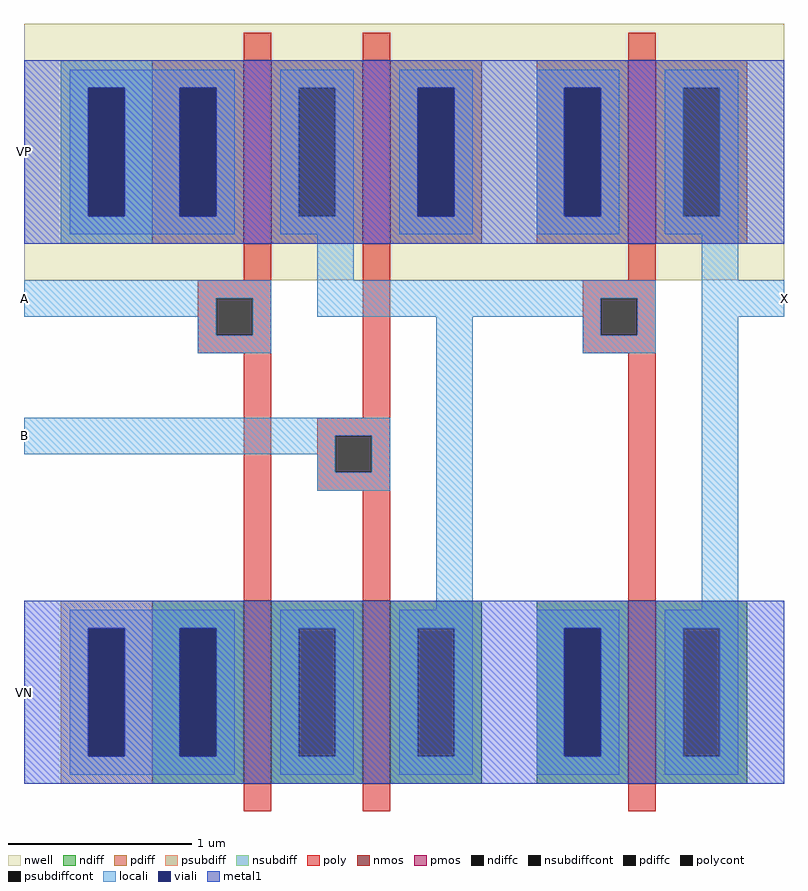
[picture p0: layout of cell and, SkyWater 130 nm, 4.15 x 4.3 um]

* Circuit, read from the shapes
.subckt and A B X VP VN
XM1 n1 A VN VN sky130_fd_pr__nfet_01v8 w=1 l=0.15
XM2 n2 B n1 VN sky130_fd_pr__nfet_01v8 w=1 l=0.15
XM3 X n2 VN VN sky130_fd_pr__nfet_01v8 w=1 l=0.15
XM4 n2 A VP VP sky130_fd_pr__pfet_01v8 w=1 l=0.15
XM5 VP B n2 VP sky130_fd_pr__pfet_01v8 w=1 l=0.15
XM6 X n2 VP VP sky130_fd_pr__pfet_01v8 w=1 l=0.15
.ends

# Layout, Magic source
magic
tech sky130A
<< nwell >>
rect -120 -25 295 115
<< nmos >>
rect 0 -300 15 -200
rect 65 -300 80 -200
rect 210 -300 225 -200
<< pmos >>
rect 0 -5 15 95
rect 65 -5 80 95
rect 210 -5 225 95
<< ndiff >>
rect -50 -215 0 -200
rect -50 -285 -35 -215
rect -15 -285 0 -215
rect -50 -300 0 -285
rect 15 -215 65 -200
rect 15 -285 30 -215
rect 50 -285 65 -215
rect 15 -300 65 -285
rect 80 -215 130 -200
rect 80 -285 95 -215
rect 115 -285 130 -215
rect 80 -300 130 -285
rect 160 -215 210 -200
rect 160 -285 175 -215
rect 195 -285 210 -215
rect 160 -300 210 -285
rect 225 -215 275 -200
rect 225 -285 240 -215
rect 260 -285 275 -215
rect 225 -300 275 -285
<< pdiff >>
rect -50 80 0 95
rect -50 10 -35 80
rect -15 10 0 80
rect -50 -5 0 10
rect 15 80 65 95
rect 15 10 30 80
rect 50 10 65 80
rect 15 -5 65 10
rect 80 80 130 95
rect 80 10 95 80
rect 115 10 130 80
rect 80 -5 130 10
rect 160 80 210 95
rect 160 10 175 80
rect 195 10 210 80
rect 160 -5 210 10
rect 225 80 275 95
rect 225 10 240 80
rect 260 10 275 80
rect 225 -5 275 10
<< ndiffc >>
rect -35 -285 -15 -215
rect 30 -285 50 -215
rect 95 -285 115 -215
rect 175 -285 195 -215
rect 240 -285 260 -215
<< pdiffc >>
rect -35 10 -15 80
rect 30 10 50 80
rect 95 10 115 80
rect 175 10 195 80
rect 240 10 260 80
<< psubdiff >>
rect -100 -215 -50 -200
rect -100 -285 -85 -215
rect -65 -285 -50 -215
rect -100 -300 -50 -285
<< nsubdiff >>
rect -100 80 -50 95
rect -100 10 -85 80
rect -65 10 -50 80
rect -100 -5 -50 10
<< psubdiffcont >>
rect -85 -285 -65 -215
<< nsubdiffcont >>
rect -85 10 -65 80
<< poly >>
rect 0 95 15 110
rect 65 95 80 110
rect 210 95 225 110
rect 0 -25 15 -5
rect -25 -35 15 -25
rect -25 -55 -15 -35
rect 5 -55 15 -35
rect -25 -65 15 -55
rect 0 -200 15 -65
rect 65 -100 80 -5
rect 210 -25 225 -5
rect 185 -35 225 -25
rect 185 -55 195 -35
rect 215 -55 225 -35
rect 185 -65 225 -55
rect 40 -110 80 -100
rect 40 -130 50 -110
rect 70 -130 80 -110
rect 40 -140 80 -130
rect 65 -200 80 -140
rect 210 -200 225 -65
rect 0 -315 15 -300
rect 65 -315 80 -300
rect 210 -315 225 -300
<< polycont >>
rect -15 -55 5 -35
rect 195 -55 215 -35
rect 50 -130 70 -110
<< locali >>
rect -95 80 -5 90
rect -95 10 -85 80
rect -65 10 -35 80
rect -15 10 -5 80
rect -95 0 -5 10
rect 20 80 60 90
rect 20 10 30 80
rect 50 10 60 80
rect 20 0 60 10
rect 85 80 125 90
rect 85 10 95 80
rect 115 10 125 80
rect 85 0 125 10
rect 160 80 205 90
rect 160 10 175 80
rect 195 10 205 80
rect 160 0 205 10
rect 230 80 270 90
rect 230 10 240 80
rect 260 10 270 80
rect 230 0 270 10
rect 40 -25 60 0
rect 250 -25 270 0
rect -120 -35 15 -25
rect -120 -45 -15 -35
rect -25 -55 -15 -45
rect 5 -55 15 -35
rect 40 -35 225 -25
rect 40 -45 195 -35
rect -25 -65 15 -55
rect -120 -110 80 -100
rect -120 -120 50 -110
rect 40 -130 50 -120
rect 70 -130 80 -110
rect 40 -140 80 -130
rect 105 -205 125 -45
rect 185 -55 195 -45
rect 215 -55 225 -35
rect 185 -65 225 -55
rect 250 -45 295 -25
rect 250 -205 270 -45
rect -95 -215 -5 -205
rect -95 -285 -85 -215
rect -65 -285 -35 -215
rect -15 -285 -5 -215
rect -95 -295 -5 -285
rect 20 -215 60 -205
rect 20 -285 30 -215
rect 50 -285 60 -215
rect 20 -295 60 -285
rect 85 -215 125 -205
rect 85 -285 95 -215
rect 115 -285 125 -215
rect 85 -295 125 -285
rect 160 -215 205 -205
rect 160 -285 175 -215
rect 195 -285 205 -215
rect 160 -295 205 -285
rect 230 -215 270 -205
rect 230 -285 240 -215
rect 260 -285 270 -215
rect 230 -295 270 -285
<< viali >>
rect -85 10 -65 80
rect -35 10 -15 80
rect 95 10 115 80
rect 175 10 195 80
rect -85 -285 -65 -215
rect -35 -285 -15 -215
rect 175 -285 195 -215
<< metal1 >>
rect -120 80 295 95
rect -120 10 -85 80
rect -65 10 -35 80
rect -15 10 95 80
rect 115 10 175 80
rect 195 10 295 80
rect -120 -5 295 10
rect -120 -215 295 -200
rect -120 -285 -85 -215
rect -65 -285 -35 -215
rect -15 -285 175 -215
rect 195 -285 295 -215
rect -120 -300 295 -285
<< labels >>
rlabel locali -120 -35 -120 -35 7 A
port 1 w
rlabel locali -120 -110 -120 -110 7 B
port 2 w
rlabel metal1 -120 -250 -120 -250 7 VN
port 5 w
rlabel metal1 -120 45 -120 45 7 VP
port 4 w
rlabel locali 295 -35 295 -35 3 X
port 3 e
<< end >>
